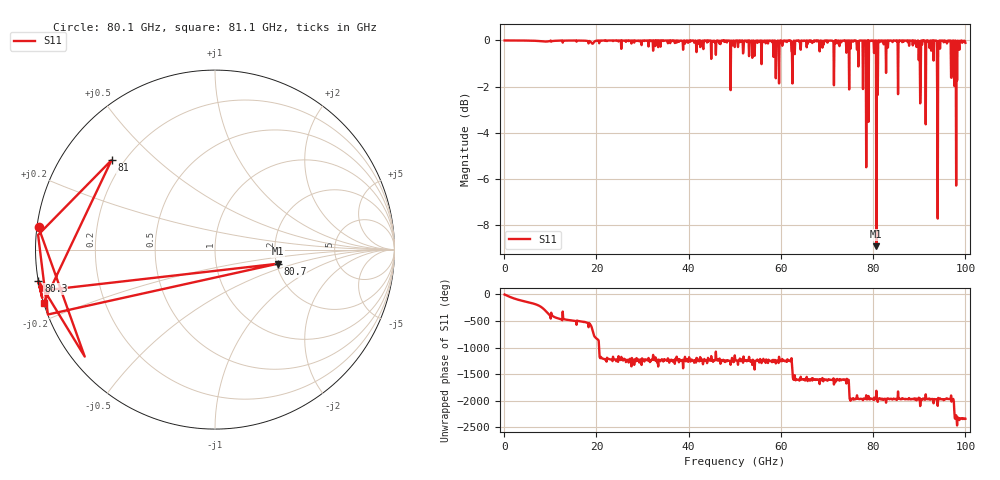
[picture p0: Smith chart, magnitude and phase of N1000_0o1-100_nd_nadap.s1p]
! Sonnet Data File
! From: em Version : 18.56
! From Project: N1000_0o1-100_nd_nadap
! Data is De-embedded
! Data File Written: 03/04/2023 11:06:04
!< HDATE 03/04/2023 10:23:07
!< MDATE 03/04/2023 10:23:07
# GHZ S MA R 50.00000
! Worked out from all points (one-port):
!   1000 points, 100 MHz to 100 GHz, reference 50 ohm
!   lowest |S11| = -8.9 dB at 80.7 GHz (marker M1), VSWR 2.12, Z = 101 - j18.3 ohm
!   |S11| at or under -10 dB: nowhere
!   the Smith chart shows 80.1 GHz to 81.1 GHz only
!   S11 on the Smith chart (normalised r, x): 80.1 GHz: 0.00, +0.06; 80.3 GHz: 0.00, -0.09; 80.7 GHz: 2.03, -0.37; 81 GHz: 0.15, +0.36; 81.1 GHz: 0.00, -0.15
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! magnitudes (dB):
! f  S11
! 100 MHz  0.0
! 12.6 GHz  0.0
! 25.1 GHz  0.0
! 37.6 GHz  -0.1
! 50.1 GHz  -0.1
! 62.6 GHz  -0.1
! 75.1 GHz  -0.4
! 77.9 GHz  0.0
! 78 GHz  0.0
! 78.9 GHz  0.0
! 80.1 GHz  -0.1
! 80.2 GHz  -0.5
! 80.3 GHz  0.0
! 80.7 GHz  -8.9
! 81 GHz  -2.4
! 81.1 GHz  0.0
! 81.6 GHz  0.0
! 87.6 GHz  0.0
! 89.8 GHz  0.0
! 93.3 GHz  0.0
! 93.6 GHz  0.0
! 94.4 GHz  0.0
! 94.6 GHz  0.0
! 96.3 GHz  0.0
! 97.7 GHz  0.0
! 98.5 GHz  0.0
! 98.8 GHz  0.0
! 100 GHz  -0.1
